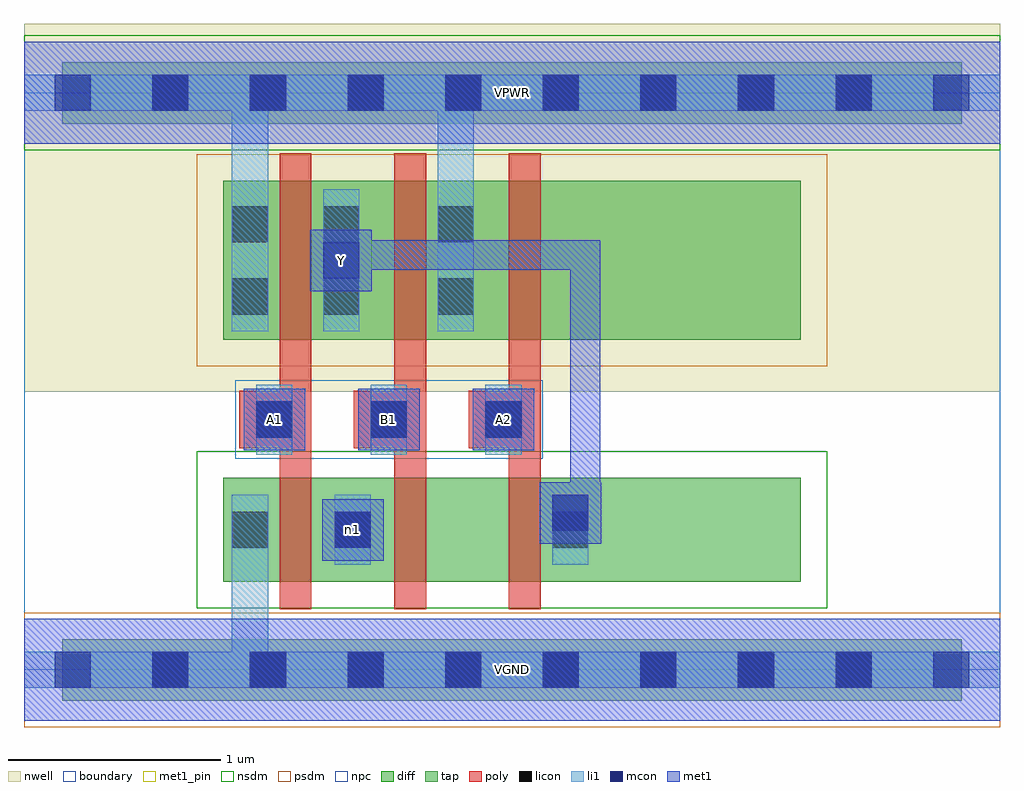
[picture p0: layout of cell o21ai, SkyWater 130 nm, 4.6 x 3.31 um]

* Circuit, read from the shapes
.subckt o21ai A1 A2 B1 VGND VPWR Y n1
XM1 n1 A1 VGND VGND sky130_fd_pr__nfet_01v8 w=0.49 l=0.15
XM2 n2 B1 n1 VGND sky130_fd_pr__nfet_01v8 w=0.49 l=0.15
XM3 Y A2 n2 VGND sky130_fd_pr__nfet_01v8 w=0.49 l=0.15
XM4 Y A1 VPWR VPWR sky130_fd_pr__pfet_01v8 w=0.75 l=0.15
XM5 VPWR B1 Y VPWR sky130_fd_pr__pfet_01v8 w=0.75 l=0.15
XM6 n3 A2 VPWR VPWR sky130_fd_pr__pfet_01v8 w=0.75 l=0.15
.ends

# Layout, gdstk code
import gdstk
lib = gdstk.Library(unit=1e-6, precision=1e-09)
def R(c, l, rs):  # rectangles x0, y0, x1, y1
    for r in rs: c.add(gdstk.rectangle(r[:2], r[2:], *l))
def A(c, l, x, y, w, h, nx, ny, dx, dy):  # array of equal rectangles
    R(c, l, [(x+i*dx, y+j*dy, x+i*dx+w, y+j*dy+h) for i in range(nx) for j in range(ny)])
nwell = (64, 20)
diff = (65, 20)
tap = (65, 44)
poly = (66, 20)
licon = (66, 44)
li1 = (67, 20)
mcon = (67, 44)
met1_pin = (68, 16)
met1 = (68, 20)
nsdm = (93, 44)
psdm = (94, 20)
npc = (95, 20)
boundary = (235, 4)

o21ai = lib.new_cell('o21ai')
R(o21ai, nwell, [(0,1.31,4.6,3.045)])
R(o21ai, diff, [(0.94,0.415,3.66,0.905), (0.94,1.555,3.66,2.305)])
R(o21ai, tap, [(0.18,-0.145,4.42,0.145), (0.18,2.575,4.42,2.865)])
A(o21ai, poly, 1.205, 0.285, 0.15, 2.15, 3, 1, 0.54, 0)
A(o21ai, poly, 1.015, 1.045, 0.33, 0.27, 3, 1, 0.54, 0)
A(o21ai, licon, 0.605, -0.085, 0.17, 0.17, 8, 2, 0.46, 2.72)
A(o21ai, licon, 1.095, 1.095, 0.17, 0.17, 3, 1, 0.54, 0)
R(o21ai, licon, [(0.98,0.575,1.15,0.745), (1.465,0.575,1.635,0.745), (2.49,0.575,2.66,0.745), (0.98,1.675,1.15,1.845), (1.41,1.675,1.58,1.845), (1.95,1.675,2.12,1.845), (0.98,2.015,1.15,2.185), (1.41,2.015,1.58,2.185), (1.95,2.015,2.12,2.185)])
A(o21ai, li1, 1.095, 1.015, 0.17, 0.33, 3, 1, 0.54, 0)
R(o21ai, li1, [(0,-0.085,4.6,0.085), (0.98,-0.085,1.15,0.825), (0.98,0.495,1.15,0.825), (1.465,0.495,1.635,0.825), (2.49,0.495,2.66,0.825), (0.98,1.595,1.15,2.265), (0.98,1.595,1.15,2.805), (1.41,1.595,1.58,2.265), (1.95,1.595,2.12,2.265), (1.95,1.595,2.12,2.805), (0,2.635,4.6,2.805)])
A(o21ai, mcon, 0.145, -0.085, 0.17, 0.17, 10, 2, 0.46, 2.72)
A(o21ai, mcon, 1.095, 1.095, 0.17, 0.17, 3, 1, 0.54, 0)
R(o21ai, mcon, [(1.465,0.575,1.635,0.745), (2.49,0.655,2.66,0.825), (1.41,1.845,1.58,2.015)])
A(o21ai, met1_pin, 1.035, 1.035, 0.29, 0.29, 3, 1, 0.54, 0)
R(o21ai, met1_pin, [(0,-0.24,4.6,0.24), (1.35,1.785,1.64,2.075), (0,2.48,4.6,2.96)])
A(o21ai, met1, 1.035, 1.035, 0.29, 0.29, 3, 1, 0.54, 0)
R(o21ai, met1, [(0,-0.24,4.6,0.24), (1.405,0.515,1.695,0.805), (2.43,0.595,2.72,0.885), (2.505,0.67,2.715,0.81), (2.575,0.67,2.715,0.99), (2.575,0.85,2.715,2.025), (1.35,1.785,1.64,2.075), (1.425,1.885,1.565,2.025), (1.425,1.885,2.715,2.025), (0,2.48,4.6,2.96)])
R(o21ai, nsdm, [(0.815,0.29,3.785,1.03), (0,2.45,4.6,2.99)])
R(o21ai, psdm, [(0,-0.27,4.6,0.27), (0.815,1.43,3.785,2.43)])
R(o21ai, npc, [(0.995,0.995,2.445,1.365)])
R(o21ai, boundary, [(0,0,4.6,2.72)])
o21ai.add(gdstk.Label('n1', (1.55,0.66), layer=67, texttype=5))
o21ai.add(gdstk.Label('A1', (1.18,1.18), layer=68, texttype=5))
o21ai.add(gdstk.Label('B1', (1.72,1.18), layer=68, texttype=5))
o21ai.add(gdstk.Label('A2', (2.26,1.18), layer=68, texttype=5))
o21ai.add(gdstk.Label('Y', (1.495,1.93), layer=68, texttype=5))
o21ai.add(gdstk.Label('VPWR', (2.3,2.72), layer=68, texttype=5))
o21ai.add(gdstk.Label('VGND', (2.3,0), layer=68, texttype=5))
o21ai.add(gdstk.Label('A1', (1.18,1.18), layer=68, texttype=16))
o21ai.add(gdstk.Label('B1', (1.72,1.18), layer=68, texttype=16))
o21ai.add(gdstk.Label('A2', (2.26,1.18), layer=68, texttype=16))
o21ai.add(gdstk.Label('Y', (1.495,1.93), layer=68, texttype=16))
o21ai.add(gdstk.Label('VPWR', (2.3,2.72), layer=68, texttype=16))
o21ai.add(gdstk.Label('VGND', (2.3,0), layer=68, texttype=16))

lib.write_gds('o21ai.gds')
